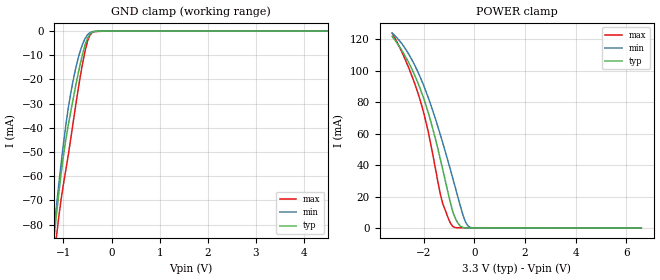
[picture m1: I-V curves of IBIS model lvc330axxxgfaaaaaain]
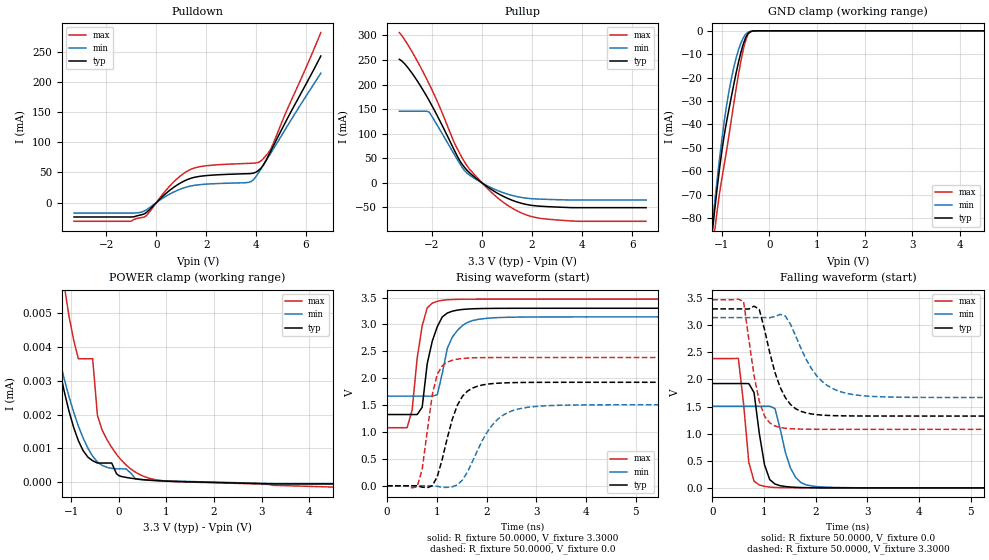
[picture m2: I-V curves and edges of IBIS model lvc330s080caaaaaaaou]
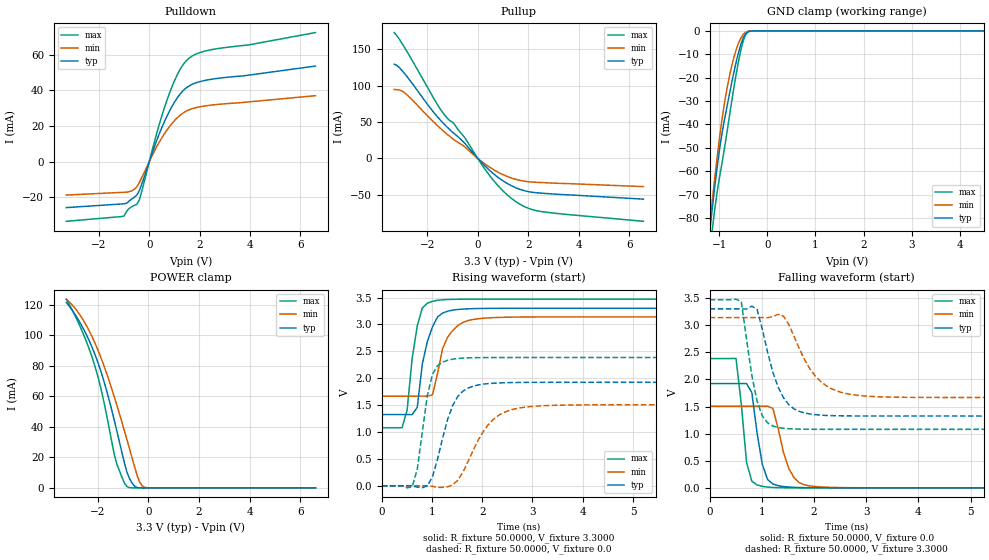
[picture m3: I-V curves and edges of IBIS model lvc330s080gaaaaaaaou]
| IBIS Models Generator: Lattice Diamond (64-bit) 3.6.0.83.4
| Generate date: Wed May 18 16:09:14 2016
| IBIS File LibisMaker.ibs
| LibisGen v2.0.1.0, 02/25/2008, Lattice Semiconductor Corporation
| Modified by LibisMaker v2.0.1.0, 02/25/2008, Lattice Semiconductor
| North Carolina State University, ERL, 2006
[IBIS ver]   3.2
[File Name]   Common_Controller_Common_Controller.ibs
[File Rev]   2.8
[Date]   Fri Feb 13 02:34:17 PDT 2015
[Source]   Lattice Semiconductor cs200fl Process
   LCMXO2-4000HC   FINAL
   Lattice Semiconductor has worked hard to ensure the
   models below are accurate and complete.  However, the
   data below was generated using simulation of the
   input/output model files for the silicon.  Therefore,
   the data below is for reference and initial design
   purposes only.
   Lattice Semiconductor grants permission to use this
   data for use in printed circuit design using this
   Lattice programmable logic device.  Other use of this
   code, including the selling or duplication of any
   portion is strictly prohibited.
|   NAMING CONVENTION
   The IBIS [Model] header is limited by the specification to a
   total of characters.  With such a set of characters available
   for naming models it becomes important to attempt to
   meaningfully encode the IO standards so they fit within the
   twenty character limit.  It would seem that twenty characters
   would provide room enough for describing IO's.  However, the
   PLD IO structure continues to grow more and more complex.  The
   complexity is making the twenty characters insuffiently
   descriptive.  In order to overcome this issue the naming
   convention described below is implemented to resolve the issue.
The twenty character space is managed as follows:
   bbbvvvsdddprugtcoixx
   b = standard
   v = voltage (x.xx V)
   s = slew code
   d = drive (xx.x ma)
   p = pullup code
   r = series resistance  or bank_vccio code
   u = terminate to vcc code
   g = terminate to gnd code
   t = terminate to vtt code
   c = common mode termination mode
   o = diff resistor code
   i = diff resistor current code
   x = reserved
   standard
   lvcmos   lvc
   lvcmosd   lvd
   lvcmosr   lvr
   lvds25e   lve
   lvttl   lvt
   lvttld   ltd
   pci   pci
   sstl_I   ss1
   sstl_II   ss2
   sstld_I   s1d
   sstld_II   s2d
   hstl_i   hs1
   hstl_ii   hs2
   hstld_i   h1d
   hstld_ii   h2d
   lvds25   lvs
   blvds25   blv
   blvds25e   blv
   mlvds25   mlv
   mlvds25e   mlv
   lvpecl33   lvp
   lvpecl33e   lvp
   rsds25   rsd
   rsds25e   rse
   mipi   mip
   mipi_lp   mip
   vref1   vr1
   vref2   vr2
   ref_res   rer
   slew
   na   a
   fast   f
   slow   s
   pullmode
   off   a
   pullup   b
   pulldown   c
   bushold   d
   clamp   e
   up_clamp   f
   down_clamp   g
   keeper_clamp   h
   impedance or Bank_vccio
   off   a
   25   b
   33   c
   50   d
   100   e
   3.3   f
   2.5   g
   1.8   h
   1.5   i
   1.2   j
   termVCC
   off   a
   50   b
   100   c
   120   d
   termGND
   off   a
   50   b
   100   c
   120   d
   termVTT
   off   a
   60   b
   75   c
   120   d
   150   e
   210   f
   VCMT
   off   a
   VCMT   b
   VTT   c
   DDR-2   d
   differential resistor
   off   a
   100   b
   diff drive
   NA   a
   2.0   b
   3.5   c
   1.25   f
   2.5   g
   Reserved   IO type
   in   input only
   ou   output
   io   I/O
   od   Open drain
   on   Inverting differential I/O
   (signal name only)
   op   Non-Inverting differential I/O
   (signal name only)
   Lattice Semiconductor Corporation
   5555 NE Moore Court
   Hillsboro, OR 97214
   U.S.A
   TEL: 1-800-Lattice (USA and Canada)
   408-826-6000 (other locations)
   web: http://www.latticesemi.com/
   email: techsupport@latticesemi.com
[Disclaimer] This IBIS source code is intended as a design reference
   which illustrates how the Lattice Semiconductor device operates.
   It is the user's responsibility to verify their design for
   consistency and functionality through the use of formal
   verification methods.  Lattice Semiconductor provides no warranty
   regarding the use or functionality of this data.
[Copyright]   Copyright 2007 by Lattice Semiconductor Corporation
|   Component XO2
[Component]   XO2
[Manufacturer]   Lattice Semiconductor Corp.
[Package]
|TQFP144
| variable   typ   min   max
R_pkg   159.8m   143.8m   177.3m
L_pkg   7.50nH   6.34nH   8.65nH
C_pkg   1.22pF   1.06pF   1.38pF
[Pin] signal_name   model_name   R_pin   L_pin   C_pin
3   CLK_C   lvc330axxxgfaaaaaain
27   IO0_C   lvc330s080caaaaaaaou
127   IO12_C   lvc330s080gaaaaaaaou
126   IO13_C   lvc330s080gaaaaaaaou
125   IO14_C   lvc330s080gaaaaaaaou
139   IO15_C   lvc330s080gaaaaaaaou
120   IO15_D   lvc330s080caaaaaaaou
140   IO16_C   lvc330s080gaaaaaaaou
142   IO17_C   lvc330s080gaaaaaaaou
56   IO18_C   lvc330s080gaaaaaaaou
57   IO19_C   lvc330s080gaaaaaaaou
26   IO1_C   lvc330s080caaaaaaaou
58   IO20_C   lvc330s080gaaaaaaaou
71   IO20_D   lvc330s080gaaaaaaaou
59   IO21_C   lvc330s080gaaaaaaaou
45   IO21_D   lvc330s080gaaaaaaaou
60   IO22_C   lvc330s080gaaaaaaaou
44   IO22_D   lvc330axxxgfaaaaaain
70   IO23_C   lvc330s080gaaaaaaaou
25   IO2_C   lvc330s080caaaaaaaou
24   IO3_C   lvc330s080caaaaaaaou
23   IO4_C   lvc330s080caaaaaaaou
2   IO5_C   lvc330s080caaaaaaaou
1   IO6_C   lvc330s080caaaaaaaou
143   IO7_C   lvc330s080caaaaaaaou
114   IO84_D   lvc330s080caaaaaaaou
117   IO85_D   lvc330s080caaaaaaaou
141   IO8_C   lvc330s080caaaaaaaou
4   PWM10A_C   lvc330s080caaaaaaaou
5   PWM10B_C   lvc330s080caaaaaaaou
6   PWM11A_C   lvc330s080caaaaaaaou
9   PWM11B_C   lvc330s080caaaaaaaou
10   PWM12A_C   lvc330s080caaaaaaaou
11   PWM12B_C   lvc330s080caaaaaaaou
38   PWM13A_C   lvc330s080caaaaaaaou
39   PWM13B_C   lvc330s080caaaaaaaou
40   PWM14A_C   lvc330s080caaaaaaaou
41   PWM14B_C   lvc330s080caaaaaaaou
42   PWM15A_C   lvc330s080caaaaaaaou
43   PWM15B_C   lvc330s080caaaaaaaou
48   PWM16A_C   lvc330s080caaaaaaaou
49   PWM16B_C   lvc330s080caaaaaaaou
50   PWM17A_C   lvc330s080caaaaaaaou
52   PWM17B_C   lvc330s080caaaaaaaou
54   PWM18A_C   lvc330s080caaaaaaaou
55   PWM18B_C   lvc330s080caaaaaaaou
15   PWM1A_C   lvc330s080caaaaaaaou
99   PWM1A_D   lvc330axxxgfaaaaaain
17   PWM1B_C   lvc330s080caaaaaaaou
98   PWM1B_D   lvc330axxxgfaaaaaain
19   PWM2A_C   lvc330s080caaaaaaaou
103   PWM2A_D   lvc330axxxgfaaaaaain
20   PWM2B_C   lvc330s080caaaaaaaou
100   PWM2B_D   lvc330axxxgfaaaaaain
21   PWM3A_C   lvc330s080caaaaaaaou
104   PWM3A_D   lvc330axxxgfaaaaaain
22   PWM3B_C   lvc330s080caaaaaaaou
106   PWM3B_D   lvc330axxxgfaaaaaain
28   PWM4A_C   lvc330s080caaaaaaaou
107   PWM4A_D   lvc330axxxgfaaaaaain
31   PWM4B_C   lvc330s080caaaaaaaou
109   PWM4B_D   lvc330axxxgfaaaaaain
32   PWM5A_C   lvc330s080caaaaaaaou
111   PWM5A_D   lvc330axxxgfaaaaaain
33   PWM5B_C   lvc330s080caaaaaaaou
110   PWM5B_D   lvc330axxxgfaaaaaain
34   PWM6A_C   lvc330s080caaaaaaaou
112   PWM6A_D   lvc330axxxgfaaaaaain
35   PWM6B_C   lvc330s080caaaaaaaou
113   PWM6B_D   lvc330axxxgfaaaaaain
63   PWM7A_C   lvc330s080caaaaaaaou
92   PWM7A_D   lvc330axxxgfaaaaaain
65   PWM7B_C   lvc330s080caaaaaaaou
93   PWM7B_D   lvc330axxxgfaaaaaain
67   PWM8A_C   lvc330s080caaaaaaaou
94   PWM8A_D   lvc330axxxgfaaaaaain
68   PWM8B_C   lvc330s080caaaaaaaou
95   PWM8B_D   lvc330axxxgfaaaaaain
73   PWM9A_C   lvc330s080caaaaaaaou
96   PWM9A_D   lvc330axxxgfaaaaaain
74   PWM9B_C   lvc330s080caaaaaaaou
97   PWM9B_D   lvc330axxxgfaaaaaain
47   PWM_ENn   lvc330s080caaaaaaaou
119   TZ1n   lvc330s080gaaaaaaaou
121   TZ2n   lvc330s080gaaaaaaaou
| Models and submodels in the file (3): lvc330axxxgfaaaaaain (Input), lvc330s080caaaaaaaou (Output), lvc330s080gaaaaaaaou (Output)
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[Model]   lvc330axxxgfaaaaaain
Model_type   Input
Polarity   Non-Inverting
Enable   Active-Low
Vinl =   0.8000V
Vinh =   2.0000V
C_comp   4.2000pF   3.8000pF   7.5000pF
[Temperature Range]   25.0000   0.1050k   -40.0000
[Voltage Range]   3.3000V   3.1400V   3.4700V
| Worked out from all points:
|   GND clamp passes 1 mA (typ) near -0.43 V on its own axis
|   POWER clamp passes 1 mA (typ) near -0.53 V on its own axis
[GND_clamp]
|Voltage   I(typ)   I(min)   I(max)
-3.3V     -955.3mA   -930.3mA   -978mA
-1.2V     -86.21mA   -82.95mA   -94.94mA
-1.15V    -76.76mA   -73.31mA   -85.77mA
-1.1V     -67.73mA   -63.97mA   -77.32mA
-1V       -51.54mA   -46.59mA   -63.26mA
-900mV    -38.9mA    -31.9mA    -51.31mA
-800mV    -28.29mA   -20.61mA   -38.02mA
-700mV    -18.14mA   -11.66mA   -24.86mA
-600mV    -9.315mA   -5.302mA   -13.12mA
-450mV    -1.255mA   -637uA     -1.701mA
0V        0A         0A         0A
6.6V      0A         0A         0A
[POWER_clamp]
|Voltage   I(typ)   I(min)   I(max)
-3.25V    121.9mA    123.9mA    124.1mA
-2.65V    106.9mA    112.1mA    104.1mA
-2.35V    96.95mA    103.3mA    91.59mA
-2.05V    84.73mA    92.58mA    76.25mA
-1.65V    63.65mA    75mA       47.49mA
-1.35V    44.31mA    59.69mA    21.99mA
-1.25V    37.38mA    54.28mA    15.6mA
-850mV    10.32mA    31.58mA    939uA
-650mV    3.193mA    19.74mA    210uA
-350mV    132.1uA    3.862mA    199.7uA
-150mV    104.6uA    375.8uA    197.7uA
6.6V      -56.35nA   -1.463uA   -71.55uA
[Model]   lvc330s080caaaaaaaou
Model_type   Output
Polarity   Non-Inverting
Enable   Active-Low
Vmeas =   1.500000V
Cref =   0.0F
Rref =   1.0000M
Vref =   0.0V
C_comp   4.2000pF   3.8000pF   7.5000pF
[Temperature Range]   25.0000   0.1050k   -40.0000
[Voltage Range]   3.3000V   3.1400V   3.4700V
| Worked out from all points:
|   slope of the pulldown table from 0 to 0.495 V, typ, clamps not added: 26 ohm
|   slope of the pullup table from 0 to 0.495 V, typ, clamps not added: 28.5 ohm
|   GND clamp passes 1 mA (typ) near -0.44 V on its own axis
|   rising waveform, R_fixture 50.0000, V_fixture 3.3000: 20-80 % time 251ps typ, 301ps min, 192ps max; typ from 1.32 V to 3.3 V
|   rising waveform, R_fixture 50.0000, V_fixture 0.0: 20-80 % time 363ps typ, 551ps min, 235ps max; typ from 0 V to 1.92 V
|   falling waveform, R_fixture 50.0000, V_fixture 0.0: 20-80 % time 188ps typ, 267ps min, 144ps max; typ from 1.92 V to 0 V
|   falling waveform, R_fixture 50.0000, V_fixture 3.3000: 20-80 % time 370ps typ, 535ps min, 253ps max; typ from 3.3 V to 1.32 V
[Pulldown]
|Voltage   I(typ)   I(min)   I(max)
-3.3V     -23.68mA   -17.2mA    -30.83mA
-1.1V     -23.68mA   -17.2mA    -30.83mA
-500mV    -18.89mA   -14.22mA   -24.07mA
-400mV    -16.44mA   -11.92mA   -21.58mA
600mV     22.43mA    15.62mA    30.22mA
1.3V      39.15mA    26.81mA    53.52mA
2V        44.82mA    30.69mA    61.1mA
3.7V      48.02mA    33.59mA    65.1mA
3.9V      48.94mA    38.13mA    65.35mA
4.2V      57.11mA    55.89mA    69.15mA
4.6V      86.19mA    82.47mA    89.45mA
6.6V      242.9mA    214.5mA    281.7mA
[Pullup]
|Voltage   I(typ)   I(min)   I(max)
-3.3V     251.3mA    145.8mA    305.6mA
-2.8V     223.5mA    145.8mA    267.3mA
-2.1V     166.4mA    143.5mA    200mA
-1.7V     127.9mA    109.7mA    155.7mA
-1.1V     65.82mA    57.34mA    80.93mA
-700mV    31.56mA    25.14mA    42.75mA
100mV     -3.836mA   -2.847mA   -5.414mA
800mV     -26.11mA   -19.07mA   -37.53mA
1.5V      -40.43mA   -28.94mA   -59.42mA
2.3V      -47.34mA   -33.02mA   -71.88mA
3.8V      -50.39mA   -34.76mA   -78.11mA
6.55V     -50.39mA   -34.76mA   -78.11mA
[GND_clamp]
|Voltage   I(typ)   I(min)   I(max)
-3.3V     -955.3mA   -930.3mA   -978mA
-1.2V     -86.18mA   -82.93mA   -94.91mA
-1.15V    -76.73mA   -73.29mA   -85.74mA
-1.1V     -67.71mA   -63.95mA   -77.28mA
-1V       -51.52mA   -46.57mA   -63.21mA
-900mV    -38.87mA   -31.88mA   -51.26mA
-800mV    -28.25mA   -20.58mA   -37.97mA
-700mV    -18.1mA    -11.63mA   -24.81mA
-600mV    -9.267mA   -5.265mA   -13.06mA
-450mV    -1.181mA   -586.6uA   -1.592mA
-250mV    -3.532uA   -4.055uA   -3.003uA
6.6V      0A         0A         0A
[POWER_clamp]
|Voltage   I(typ)   I(min)   I(max)
-3.25V    664.8uA    749.4uA    597.1uA
-1.55V    5.914uA    5.712uA    11.4uA
-1.45V    4.987uA    4.974uA    9.751uA
-1.15V    2.703uA    3.073uA    5.863uA
-850mV    1.226uA    1.662uA    3.655uA
-550mV    631.3nA    766.5nA    3.655uA
-450mV    563.6nA    595.5nA    1.977uA
-150mV    563.6nA    404.4nA    1.026uA
0V        190.5nA    391.2nA    734.7nA
450mV     79.23nA    72.94nA    213.9nA
950mV     30.32nA    38.42nA    33.55nA
6.6V      -57.56nA   -49.34nA   -232.5nA
[Ramp]
| variable   typ   min   max
dV/dt_r  1.1542/0.3590n   0.9035/0.5460n   1.4308/0.2329n
dV/dt_f  1.1855/0.3662n   0.8843/0.5297n   1.4345/0.2507n
R_load = 50.0000
[Rising Waveform]
R_fixture=   50.0000
V_fixture=   3.3000
V_fixture_min=   3.1400
V_fixture_max=   3.4700
|time   V(typ)   V(min)   V(max)
0s        1.324V     1.666V     1.079V
404ps     1.324V     1.666V     1.079V
505.1ps   1.324V     1.666V     1.407V
606.1ps   1.323V     1.666V     2.373V
707.1ps   1.46V      1.666V     2.973V
808.1ps   2.269V     1.667V     3.306V
1.01ns    2.956V     1.691V     3.43V
1.313ns   3.246V     2.765V     3.463V
1.818ns   3.293V     3.091V     3.469V
10ns      3.3V       3.14V      3.47V
[Rising Waveform]
R_fixture=   50.0000
V_fixture=   0.0
V_fixture_min=   0.0
V_fixture_max=   0.0
|time   V(typ)   V(min)   V(max)
0s        830nV      1.065uV    812.2nV
606.1ps   -647.3uV   2.343uV    -19.28mV
707.1ps   -25.56mV   18.24uV    307.2mV
909.1ps   -1.644mV   -352.6uV   1.685V
1.01ns    168.3mV    -10.05mV   2.075V
1.313ns   1.24V      -19.03mV   2.334V
1.717ns   1.816V     450.2mV    2.378V
2.121ns   1.9V       1.136V     2.384V
2.727ns   1.921V     1.444V     2.385V
10ns      1.924V     1.506V     2.385V
[Falling Waveform]
R_fixture=   50.0000
V_fixture=   0.0
V_fixture_min=   0.0
V_fixture_max=   0.0
|time   V(typ)   V(min)   V(max)
0s        1.924V     1.506V     2.385V
505.1ps   1.924V     1.506V     2.387V
707.1ps   1.923V     1.506V     469.1mV
808.1ps   1.757V     1.506V     123.1mV
1.01ns    427.9mV    1.507V     27.45mV
1.212ns   71.02mV    1.464V     7.412mV
1.414ns   24.43mV    655.3mV    2.129mV
1.616ns   9.884mV    189mV      652.9uV
1.919ns   2.628mV    35.9mV     184.5uV
10ns      -6.753uV   -8.585uV   -14.06uV
[Falling Waveform]
R_fixture=   50.0000
V_fixture=   3.3000
V_fixture_min=   3.1400
V_fixture_max=   3.4700
|time   V(typ)   V(min)   V(max)
0s        3.3V       3.14V      3.47V
606.1ps   3.3V       3.14V      3.436V
808.1ps   3.351V     3.14V      2.072V
909.1ps   3.292V     3.14V      1.597V
1.111ns   2.497V     3.138V     1.198V
1.313ns   1.855V     3.2V       1.113V
1.616ns   1.458V     2.796V     1.086V
2.02ns    1.35V      2.067V     1.08V
2.626ns   1.327V     1.737V     1.079V
10ns      1.324V     1.666V     1.079V
[Model]   lvc330s080gaaaaaaaou
Model_type   Output
Polarity   Non-Inverting
Enable   Active-Low
Vmeas =   1.6500V
Cref =   0.0F
Rref =   1.0000M
Vref =   0.0V
C_comp   4.2000pF   3.8000pF   7.5000pF
[Temperature Range]   25.0000   0.1050k   -40.0000
[Voltage Range]   3.3000V   3.1400V   3.4700V
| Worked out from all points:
|   slope of the pulldown table from 0 to 0.495 V, typ, clamps not added: 26 ohm
|   slope of the pullup table from 0 to 0.495 V, typ, clamps not added: 28.5 ohm
|   GND clamp passes 1 mA (typ) near -0.44 V on its own axis
|   POWER clamp passes 1 mA (typ) near -0.54 V on its own axis
|   rising waveform, R_fixture 50.0000, V_fixture 3.3000: 20-80 % time 251ps typ, 301ps min, 192ps max; typ from 1.32 V to 3.3 V
|   rising waveform, R_fixture 50.0000, V_fixture 0.0: 20-80 % time 363ps typ, 551ps min, 235ps max; typ from 0 V to 1.92 V
|   falling waveform, R_fixture 50.0000, V_fixture 0.0: 20-80 % time 188ps typ, 267ps min, 144ps max; typ from 1.92 V to 0 V
|   falling waveform, R_fixture 50.0000, V_fixture 3.3000: 20-80 % time 370ps typ, 535ps min, 253ps max; typ from 3.3 V to 1.32 V
[Pulldown]
|Voltage   I(typ)   I(min)   I(max)
-3.3V     -25.87mA   -18.83mA   -33.56mA
-1.1V     -23.82mA   -17.33mA   -30.89mA
-1V       -23.72mA   -17.27mA   -30.52mA
-900mV    -23.42mA   -17.2mA    -27.86mA
-500mV    -18.89mA   -14.22mA   -24.07mA
-400mV    -16.44mA   -11.92mA   -21.58mA
300mV     12.11mA    8.499mA    16.2mA
800mV     28.3mA     19.6mA     38.33mA
1.2V      37.47mA    25.7mA     51.17mA
1.6V      42.61mA    29.13mA    58.23mA
2.4V      46.02mA    31.56mA    62.59mA
6.6V      53.58mA    36.95mA    72.38mA
[Pullup]
|Voltage   I(typ)   I(min)   I(max)
-3.3V     129.4mA    94.68mA    172.9mA
-3V       121.1mA    92.7mA     158.5mA
-2.8V     112.6mA    87.43mA    147.1mA
-1.4V     49.72mA    38.86mA    63.81mA
-900mV    33.12mA    24.63mA    45.95mA
-500mV    20.21mA    15.31mA    27.84mA
500mV     -17.54mA   -12.91mA   -25.01mA
1V        -31.01mA   -22.53mA   -44.83mA
1.4V      -38.87mA   -27.91mA   -56.93mA
1.9V      -45.07mA   -31.81mA   -67.31mA
2.5V      -47.95mA   -33.38mA   -73.15mA
6.55V     -56.22mA   -38.99mA   -86.7mA
[GND_clamp]
|Voltage   I(typ)   I(min)   I(max)
-3.3V     -955.3mA   -930.3mA   -978mA
-1.2V     -86.18mA   -82.93mA   -94.91mA
-1.15V    -76.73mA   -73.29mA   -85.74mA
-1.1V     -67.71mA   -63.95mA   -77.28mA
-1V       -51.52mA   -46.57mA   -63.21mA
-900mV    -38.87mA   -31.88mA   -51.26mA
-800mV    -28.25mA   -20.58mA   -37.97mA
-700mV    -18.1mA    -11.63mA   -24.81mA
-600mV    -9.267mA   -5.265mA   -13.06mA
-450mV    -1.181mA   -586.6uA   -1.592mA
-250mV    -3.532uA   -4.055uA   -3.003uA
6.6V      0A         0A         0A
[POWER_clamp]
|Voltage   I(typ)   I(min)   I(max)
-3.25V    121.6mA    123.7mA    123.8mA
-2.55V    103.6mA    109.2mA    99.91mA
-2.05V    84.55mA    92.42mA    76.01mA
-1.85V    74.75mA    84.09mA    62.98mA
-1.65V    63.47mA    74.86mA    47.24mA
-1.35V    44.14mA    59.56mA    21.79mA
-1.25V    37.23mA    54.16mA    15.46mA
-850mV    10.22mA    31.49mA    813uA
-650mV    3.122mA    19.66mA    19.66uA
-350mV    37.56uA    3.815mA    1.535uA
-150mV    934.2nA    336.7uA    1.026uA
6.6V      -57.56nA   -49.34nA   -232.5nA
[Ramp]
| variable   typ   min   max
dV/dt_r  1.1542/0.3590n   0.9035/0.5460n   1.4308/0.2329n
dV/dt_f  1.1855/0.3662n   0.8843/0.5297n   1.4345/0.2507n
R_load = 50.0000
[Rising Waveform]
R_fixture=   50.0000
V_fixture=   3.3000
V_fixture_min=   3.1400
V_fixture_max=   3.4700
|time   V(typ)   V(min)   V(max)
0s        1.324V     1.666V     1.079V
404ps     1.324V     1.666V     1.079V
505.1ps   1.324V     1.666V     1.407V
606.1ps   1.323V     1.666V     2.373V
707.1ps   1.46V      1.666V     2.973V
808.1ps   2.269V     1.667V     3.306V
1.01ns    2.956V     1.691V     3.43V
1.313ns   3.246V     2.765V     3.463V
1.818ns   3.293V     3.091V     3.469V
10ns      3.3V       3.14V      3.47V
[Rising Waveform]
R_fixture=   50.0000
V_fixture=   0.0
V_fixture_min=   0.0
V_fixture_max=   0.0
|time   V(typ)   V(min)   V(max)
0s        830nV      1.065uV    812.2nV
606.1ps   -647.3uV   2.343uV    -19.28mV
707.1ps   -25.56mV   18.24uV    307.2mV
909.1ps   -1.644mV   -352.6uV   1.685V
1.01ns    168.3mV    -10.05mV   2.075V
1.313ns   1.24V      -19.03mV   2.334V
1.717ns   1.816V     450.2mV    2.378V
2.121ns   1.9V       1.136V     2.384V
2.727ns   1.921V     1.444V     2.385V
10ns      1.924V     1.506V     2.385V
[Falling Waveform]
R_fixture=   50.0000
V_fixture=   0.0
V_fixture_min=   0.0
V_fixture_max=   0.0
|time   V(typ)   V(min)   V(max)
0s        1.924V     1.506V     2.385V
505.1ps   1.924V     1.506V     2.387V
707.1ps   1.923V     1.506V     469.1mV
808.1ps   1.757V     1.506V     123.1mV
1.01ns    427.9mV    1.507V     27.45mV
1.212ns   71.02mV    1.464V     7.412mV
1.414ns   24.43mV    655.3mV    2.129mV
1.616ns   9.884mV    189mV      652.9uV
1.919ns   2.628mV    35.9mV     184.5uV
10ns      -6.753uV   -8.585uV   -14.06uV
[Falling Waveform]
R_fixture=   50.0000
V_fixture=   3.3000
V_fixture_min=   3.1400
V_fixture_max=   3.4700
|time   V(typ)   V(min)   V(max)
0s        3.3V       3.14V      3.47V
606.1ps   3.3V       3.14V      3.436V
808.1ps   3.351V     3.14V      2.072V
909.1ps   3.292V     3.14V      1.597V
1.111ns   2.497V     3.138V     1.198V
1.313ns   1.855V     3.2V       1.113V
1.616ns   1.458V     2.796V     1.086V
2.02ns    1.35V      2.067V     1.08V
2.626ns   1.327V     1.737V     1.079V
10ns      1.324V     1.666V     1.079V
